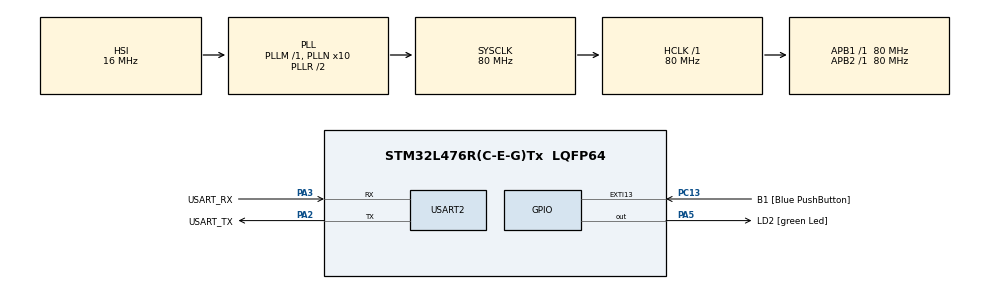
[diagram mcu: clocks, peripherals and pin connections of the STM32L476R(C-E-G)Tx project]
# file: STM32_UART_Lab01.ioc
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Mcu.Family=STM32L4
Mcu.Name=STM32L476R(C-E-G)Tx
Mcu.Package=LQFP64
NVIC.PriorityGroup=NVIC_PRIORITYGROUP_4
NVIC.USART2_IRQn=true\:0\:0\:false\:false\:true\:true\:true\:true
PA13\ (JTMS-SWDIO).GPIO_Label=TMS
PA13\ (JTMS-SWDIO).Mode=Serial_Wire
PA13\ (JTMS-SWDIO).Signal=SYS_JTMS-SWDIO
PA14\ (JTCK-SWCLK).GPIO_Label=TCK
PA14\ (JTCK-SWCLK).Mode=Serial_Wire
PA14\ (JTCK-SWCLK).Signal=SYS_JTCK-SWCLK
PA2.GPIO_Label=USART_TX
PA2.GPIO_Mode=GPIO_MODE_AF_PP
PA2.GPIO_PuPd=GPIO_NOPULL
PA2.GPIO_Speed=GPIO_SPEED_FREQ_VERY_HIGH
PA2.Mode=Asynchronous
PA2.Signal=USART2_TX
PA3.GPIO_Label=USART_RX
PA3.GPIO_Mode=GPIO_MODE_AF_PP
PA3.GPIO_PuPd=GPIO_NOPULL
PA3.GPIO_Speed=GPIO_SPEED_FREQ_VERY_HIGH
PA3.Mode=Asynchronous
PA3.Signal=USART2_RX
PA5.GPIO_Label=LD2 [green Led]
PA5.GPIO_ModeDefaultOutputPP=GPIO_MODE_OUTPUT_PP
PA5.GPIO_PuPd=GPIO_NOPULL
PA5.GPIO_Speed=GPIO_SPEED_FREQ_LOW
PA5.Signal=GPIO_Output
PB3\ (JTDO-TRACESWO).GPIO_Label=SWO
PB3\ (JTDO-TRACESWO).Signal=SYS_JTDO-SWO
PC13.GPIO_Label=B1 [Blue PushButton]
PC13.GPIO_ModeDefaultEXTI=GPIO_MODE_IT_FALLING
PC13.GPIO_PuPd=GPIO_NOPULL
PC13.Signal=GPXTI13
PC14-OSC32_IN\ (PC14).Mode=LSE-External-Oscillator
PC14-OSC32_IN\ (PC14).Signal=RCC_OSC32_IN
PC15-OSC32_OUT\ (PC15).Mode=LSE-External-Oscillator
PC15-OSC32_OUT\ (PC15).Signal=RCC_OSC32_OUT
PH0-OSC_IN\ (PH0).Signal=RCC_OSC_IN
PH1-OSC_OUT\ (PH1).Signal=RCC_OSC_OUT
ProjectManager.HeapSize=0x200
ProjectManager.StackSize=0x400
ProjectManager.TargetToolchain=STM32CubeIDE
RCC.ADCFreq_Value=64000000
RCC.AHBFreq_Value=80000000
RCC.APB1Freq_Value=80000000
RCC.APB1TimFreq_Value=80000000
RCC.APB2Freq_Value=80000000
RCC.APB2TimFreq_Value=80000000
RCC.CortexFreq_Value=80000000
RCC.HCLKFreq_Value=80000000
RCC.HSE_VALUE=8000000
RCC.HSI_VALUE=16000000
RCC.MSI_VALUE=4000000
RCC.PLLN=10
RCC.PLLSourceVirtual=RCC_PLLSOURCE_HSI
RCC.PREFETCH_ENABLE=1
RCC.SYSCLKFreq_VALUE=80000000
RCC.SYSCLKSource=RCC_SYSCLKSOURCE_PLLCLK
RCC.USBFreq_Value=64000000
RCC.VCOOutputFreq_Value=160000000
USART2.VirtualMode-Asynchronous=VM_ASYNC
board=NUCLEO-L476RG

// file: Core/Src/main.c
/* USER CODE BEGIN Header */
/**
  ******************************************************************************
  * @file           : main.c
  * @brief          : Main program body
  ******************************************************************************
  * @attention
  *
  * Copyright (c) 2026 STMicroelectronics.
  * All rights reserved.
  *
  * This software is licensed under terms that can be found in the LICENSE file
  * in the root directory of this software component.
  * If no LICENSE file comes with this software, it is provided AS-IS.
  *
  ******************************************************************************
  */
/* USER CODE END Header */
#include "main.h"

/* USER CODE BEGIN Includes */
#include <stdio.h>
#include<string.h>
/* USER CODE END Includes */

UART_HandleTypeDef huart2;

/* USER CODE BEGIN PV */
#define BUFFER_SIZE 64
uint8_t rx_data;

uint8_t rx_buffer[BUFFER_SIZE];

volatile uint8_t head = 0;
volatile uint8_t tail = 0;

volatile uint32_t overflow_count = 0;

volatile uint32_t uart_error_count = 0;

volatile uint32_t uart_ore_count = 0;
volatile uint32_t uart_fe_count = 0;
volatile uint32_t uart_ne_count = 0;
volatile uint32_t uart_pe_count = 0;

volatile uint8_t uart_recovery_pending = 0;

volatile uint32_t uart_restart_fail_count = 0;
volatile uint32_t uart_recovery_count = 0;
/* USER CODE END PV */

void SystemClock_Config(void);
static void MX_GPIO_Init(void);
static void MX_USART2_UART_Init(void);
/* USER CODE BEGIN PFP */
int RingBuffer_Push(uint8_t data);
int RingBuffer_Pop(uint8_t *data);
void UART_PrintStats(void);
/* USER CODE END PFP */

int main(void)
{

  /* MCU Configuration--------------------------------------------------------*/

  /* Reset of all peripherals, Initializes the Flash interface and the Systick. */
  HAL_Init();

  /* Configure the system clock */
  SystemClock_Config();

  /* Initialize all configured peripherals */
  MX_GPIO_Init();
  MX_USART2_UART_Init();
  /* USER CODE BEGIN 2 */
  HAL_StatusTypeDef uart_status;

  uart_status = HAL_UART_Receive_IT(
      &huart2,
      &rx_data,
      1
  );

  if (uart_status != HAL_OK)
  {
      uart_restart_fail_count++;
      uart_recovery_pending = 1;
  }
  /* USER CODE END 2 */

  /* Infinite loop */

  /* USER CODE BEGIN WHILE */
  /* USER CODE BEGIN WHILE */
  uint32_t last_tick = HAL_GetTick();

  while (1)
  {
      /* USER CODE END WHILE */

      /* USER CODE BEGIN 3 */

      if (HAL_GetTick() - last_tick >= 500)
      {
          last_tick = HAL_GetTick();
          HAL_GPIO_TogglePin(GPIOA, GPIO_PIN_5);
      }

      // UART Recovery
      if (uart_recovery_pending)
      {
          if (huart2.RxState == HAL_UART_STATE_READY)
          {
              HAL_StatusTypeDef status =
                  HAL_UART_Receive_IT(&huart2, &rx_data, 1);

              if (status == HAL_OK)
              {
                  uart_recovery_pending = 0;
                  uart_recovery_count++;
              }
              else
              {
                  uart_restart_fail_count++;
              }
          }
          else if (huart2.RxState == HAL_UART_STATE_BUSY_RX)
          {
              uart_recovery_pending = 0;
          }
      }

      // UART Ring Buffer Consumer
      uint8_t data;

      if (RingBuffer_Pop(&data))
      {
          if (data == '?')
          {
              UART_PrintStats();
          }
          else
          {
              HAL_UART_Transmit(&huart2, &data, 1, 100);
          }
      }
  }
  /* USER CODE END 3 */
  /* USER CODE END 3 */
}

void SystemClock_Config(void)
{
  RCC_OscInitTypeDef RCC_OscInitStruct = {0};
  RCC_ClkInitTypeDef RCC_ClkInitStruct = {0};

  /** Configure the main internal regulator output voltage
  */
  if (HAL_PWREx_ControlVoltageScaling(PWR_REGULATOR_VOLTAGE_SCALE1) != HAL_OK)
  {
    Error_Handler();
  }

  /** Initializes the RCC Oscillators according to the specified parameters
  * in the RCC_OscInitTypeDef structure.
  */
  RCC_OscInitStruct.OscillatorType = RCC_OSCILLATORTYPE_HSI;
  RCC_OscInitStruct.HSIState = RCC_HSI_ON;
  RCC_OscInitStruct.HSICalibrationValue = RCC_HSICALIBRATION_DEFAULT;
  RCC_OscInitStruct.PLL.PLLState = RCC_PLL_ON;
  RCC_OscInitStruct.PLL.PLLSource = RCC_PLLSOURCE_HSI;
  RCC_OscInitStruct.PLL.PLLM = 1;
  RCC_OscInitStruct.PLL.PLLN = 10;
  RCC_OscInitStruct.PLL.PLLP = RCC_PLLP_DIV7;
  RCC_OscInitStruct.PLL.PLLQ = RCC_PLLQ_DIV2;
  RCC_OscInitStruct.PLL.PLLR = RCC_PLLR_DIV2;
  if (HAL_RCC_OscConfig(&RCC_OscInitStruct) != HAL_OK)
  {
    Error_Handler();
  }

  /** Initializes the CPU, AHB and APB buses clocks
  */
  RCC_ClkInitStruct.ClockType = RCC_CLOCKTYPE_HCLK|RCC_CLOCKTYPE_SYSCLK
                              |RCC_CLOCKTYPE_PCLK1|RCC_CLOCKTYPE_PCLK2;
  RCC_ClkInitStruct.SYSCLKSource = RCC_SYSCLKSOURCE_PLLCLK;
  RCC_ClkInitStruct.AHBCLKDivider = RCC_SYSCLK_DIV1;
  RCC_ClkInitStruct.APB1CLKDivider = RCC_HCLK_DIV1;
  RCC_ClkInitStruct.APB2CLKDivider = RCC_HCLK_DIV1;

  if (HAL_RCC_ClockConfig(&RCC_ClkInitStruct, FLASH_LATENCY_4) != HAL_OK)
  {
    Error_Handler();
  }
}

static void MX_USART2_UART_Init(void)
{

  huart2.Instance = USART2;
  huart2.Init.BaudRate = 115200;
  huart2.Init.WordLength = UART_WORDLENGTH_8B;
  huart2.Init.StopBits = UART_STOPBITS_1;
  huart2.Init.Parity = UART_PARITY_NONE;
  huart2.Init.Mode = UART_MODE_TX_RX;
  huart2.Init.HwFlowCtl = UART_HWCONTROL_NONE;
  huart2.Init.OverSampling = UART_OVERSAMPLING_16;
  huart2.Init.OneBitSampling = UART_ONE_BIT_SAMPLE_DISABLE;
  huart2.AdvancedInit.AdvFeatureInit = UART_ADVFEATURE_NO_INIT;
  if (HAL_UART_Init(&huart2) != HAL_OK)
  {
    Error_Handler();
  }

}

static void MX_GPIO_Init(void)
{
  GPIO_InitTypeDef GPIO_InitStruct = {0};

  /* GPIO Ports Clock Enable */
  __HAL_RCC_GPIOC_CLK_ENABLE();
  __HAL_RCC_GPIOH_CLK_ENABLE();
  __HAL_RCC_GPIOA_CLK_ENABLE();
  __HAL_RCC_GPIOB_CLK_ENABLE();

  /*Configure GPIO pin Output Level */
  HAL_GPIO_WritePin(LD2_GPIO_Port, LD2_Pin, GPIO_PIN_RESET);

  /*Configure GPIO pin : B1_Pin */
  GPIO_InitStruct.Pin = B1_Pin;
  GPIO_InitStruct.Mode = GPIO_MODE_IT_FALLING;
  GPIO_InitStruct.Pull = GPIO_NOPULL;
  HAL_GPIO_Init(B1_GPIO_Port, &GPIO_InitStruct);

  /*Configure GPIO pin : LD2_Pin */
  GPIO_InitStruct.Pin = LD2_Pin;
  GPIO_InitStruct.Mode = GPIO_MODE_OUTPUT_PP;
  GPIO_InitStruct.Pull = GPIO_NOPULL;
  GPIO_InitStruct.Speed = GPIO_SPEED_FREQ_LOW;
  HAL_GPIO_Init(LD2_GPIO_Port, &GPIO_InitStruct);

}

/* USER CODE BEGIN 4 */
	int RingBuffer_Push(uint8_t data){
		uint16_t next_head = (head + 1U) % BUFFER_SIZE;
		if (next_head == tail){
			overflow_count++;
			return 0;
		}
		rx_buffer[head] = data;
		head = next_head;

		return 1;
	}

	int RingBuffer_Pop(uint8_t *data){
		if(data == NULL)
			return 0;
		if (head == tail)
			return 0;
		*data = rx_buffer[tail];
		tail = (tail + 1U) %BUFFER_SIZE;
		return 1;
	}

	void HAL_UART_RxCpltCallback(UART_HandleTypeDef *huart)
	{
	    if (huart->Instance == USART2)
	    {
	        RingBuffer_Push(rx_data);

	        HAL_StatusTypeDef status =
	            HAL_UART_Receive_IT(&huart2, &rx_data, 1);

	        if (status != HAL_OK)
	        {
	            uart_restart_fail_count++;
	            uart_recovery_pending = 1;
	        }
	    }
	}
	void HAL_UART_ErrorCallback(UART_HandleTypeDef *huart){
		if (huart -> Instance == USART2){
			uint32_t error = HAL_UART_GetError(huart);
					uart_error_count++;
			if (error & HAL_UART_ERROR_ORE)
			{
			            uart_ore_count++;
			            uart_recovery_pending = 1;
			}
			if (error & HAL_UART_ERROR_FE)
			{
			            uart_fe_count++;
			}

			if (error & HAL_UART_ERROR_NE)
			{
			            uart_ne_count++;
			}

			if (error & HAL_UART_ERROR_PE)
			{
			            uart_pe_count++;
			}
		}
	}

	void UART_PrintStats(void)
	{
	    char msg[192];

	    uint16_t current_head = head;
	    uint16_t current_tail = tail;

	    uint16_t used =
	        (current_head + BUFFER_SIZE - current_tail)
	        % BUFFER_SIZE;

	    int len = snprintf(
	        msg,
	        sizeof(msg),
	        "\r\nHead=%u Tail=%u Used=%u Overflow=%lu\r\n"
	        "UART Errors=%lu ORE=%lu FE=%lu NE=%lu PE=%lu\r\n"
	        "Recovery=%lu RestartFail=%lu\r\n",
	        (unsigned)current_head,
	        (unsigned)current_tail,
	        (unsigned)used,
	        (unsigned long)overflow_count,
	        (unsigned long)uart_error_count,
	        (unsigned long)uart_ore_count,
	        (unsigned long)uart_fe_count,
	        (unsigned long)uart_ne_count,
	        (unsigned long)uart_pe_count,
	        (unsigned long)uart_recovery_count,
	        (unsigned long)uart_restart_fail_count
	    );

	    if (len > 0 && (size_t)len < sizeof(msg))
	    {
	        HAL_UART_Transmit(
	            &huart2,
	            (uint8_t *)msg,
	            (uint16_t)len,
	            100
	        );
	    }
	}
/* USER CODE END 4 */

void Error_Handler(void)
{
  __disable_irq();
  while (1)
  {
  }
}
